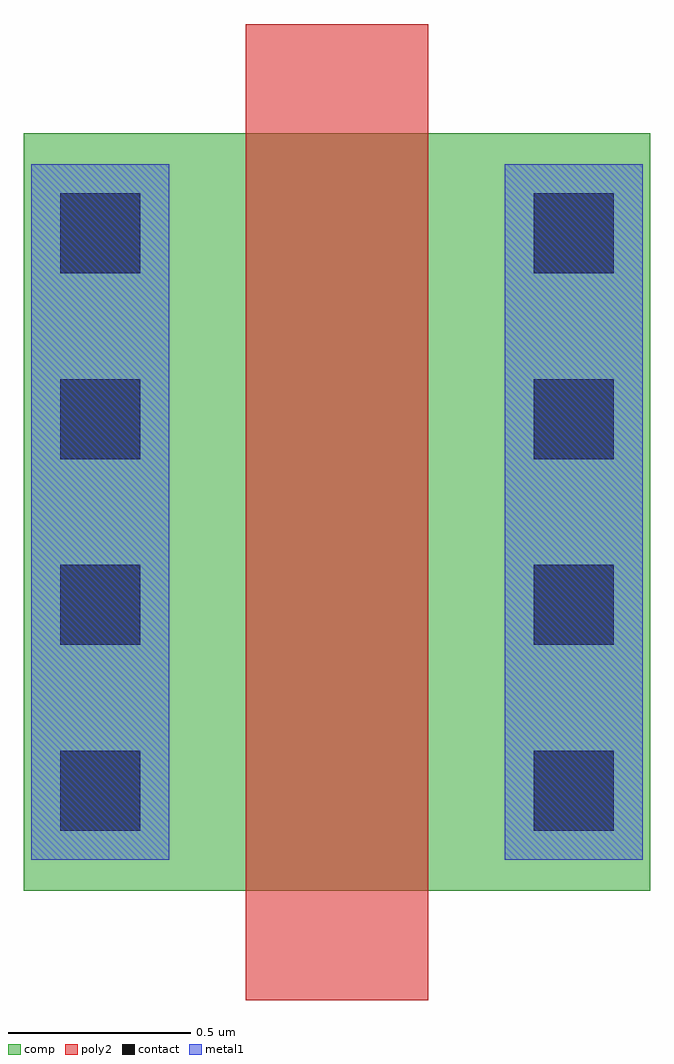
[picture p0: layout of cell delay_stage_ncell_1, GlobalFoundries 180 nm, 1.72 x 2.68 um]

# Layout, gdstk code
import gdstk
lib = gdstk.Library(unit=1e-6, precision=5e-09)
def R(c, l, rs):  # rectangles x0, y0, x1, y1
    for r in rs: c.add(gdstk.rectangle(r[:2], r[2:], *l))
def A(c, l, x, y, w, h, nx, ny, dx, dy):  # array of equal rectangles
    R(c, l, [(x+i*dx, y+j*dy, x+i*dx+w, y+j*dy+h) for i in range(nx) for j in range(ny)])
comp = (22, 0)
poly2 = (30, 0)
contact = (33, 0)
metal1 = (34, 0)

delay_stage_ncell_1 = lib.new_cell('delay_stage_ncell_1')
R(delay_stage_ncell_1, comp, [(0,0.3,0.42,2.38), (0.42,0.3,1.3,2.38), (1.3,0.3,1.72,2.38)])
R(delay_stage_ncell_1, poly2, [(0.61,0,1.11,2.68)])
A(delay_stage_ncell_1, contact, 0.1, 0.465, 0.22, 0.22, 1, 4, 0, 0.51)
A(delay_stage_ncell_1, contact, 1.4, 0.465, 0.22, 0.22, 1, 4, 0, 0.51)
R(delay_stage_ncell_1, metal1, [(0.02,0.385,0.4,2.295), (1.32,0.385,1.7,2.295)])

lib.write_gds('delay_stage_ncell_1.gds')
